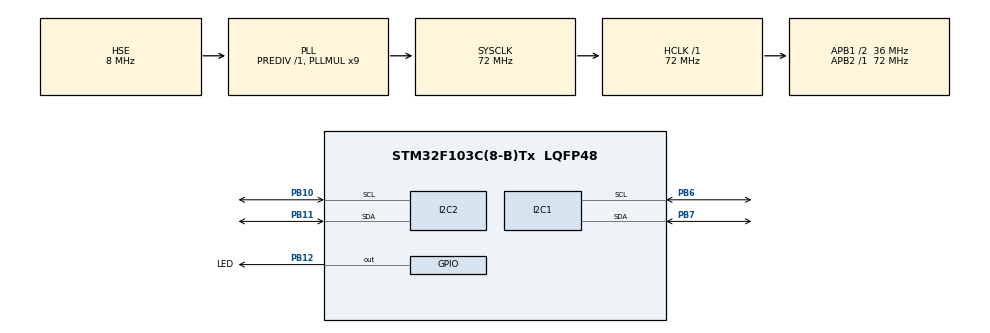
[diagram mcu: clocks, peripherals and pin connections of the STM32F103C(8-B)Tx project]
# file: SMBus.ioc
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I2C1.SMBusOwnAddress=0x45
Mcu.Family=STM32F1
Mcu.Name=STM32F103C(8-B)Tx
Mcu.Package=LQFP48
NVIC.PriorityGroup=NVIC_PRIORITYGROUP_4
PA13.Mode=Serial_Wire
PA13.Signal=SYS_JTMS-SWDIO
PA14.Mode=Serial_Wire
PA14.Signal=SYS_JTCK-SWCLK
PB10.Mode=I2C
PB10.Signal=I2C2_SCL
PB11.Mode=I2C
PB11.Signal=I2C2_SDA
PB12.GPIO_Label=LED
PB12.Signal=GPIO_Output
PB6.Mode=SMBus-two-wire-Interface
PB6.Signal=I2C1_SCL
PB7.Mode=SMBus-two-wire-Interface
PB7.Signal=I2C1_SDA
PD0-OSC_IN.Mode=HSE-External-Oscillator
PD0-OSC_IN.Signal=RCC_OSC_IN
PD1-OSC_OUT.Mode=HSE-External-Oscillator
PD1-OSC_OUT.Signal=RCC_OSC_OUT
ProjectManager.HeapSize=0x200
ProjectManager.StackSize=0x400
ProjectManager.TargetToolchain=STM32CubeIDE
RCC.AHBFreq_Value=72000000
RCC.APB1CLKDivider=RCC_HCLK_DIV2
RCC.APB1Freq_Value=36000000
RCC.APB1TimFreq_Value=72000000
RCC.APB2Freq_Value=72000000
RCC.APB2TimFreq_Value=72000000
RCC.HCLKFreq_Value=72000000
RCC.PLLMUL=RCC_PLL_MUL9
RCC.PLLSourceVirtual=RCC_PLLSOURCE_HSE
RCC.SYSCLKFreq_VALUE=72000000
RCC.SYSCLKSource=RCC_SYSCLKSOURCE_PLLCLK
RCC.USBFreq_Value=72000000
board=custom

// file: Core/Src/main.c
/* USER CODE BEGIN Header */
/**
  ******************************************************************************
  * @file           : main.c
  * @brief          : Main program body
  ******************************************************************************
  * @attention
  *
  * Copyright (c) 2023 STMicroelectronics.
  * All rights reserved.
  *
  * This software is licensed under terms that can be found in the LICENSE file
  * in the root directory of this software component.
  * If no LICENSE file comes with this software, it is provided AS-IS.
  *
  ******************************************************************************
  */
/* USER CODE END Header */
#include "main.h"

/* USER CODE BEGIN Includes */
#include "i2c-lcd.h"
/* USER CODE END Includes */

I2C_HandleTypeDef hi2c2;

/* USER CODE BEGIN PV */
I2C_HandleTypeDef smbus;
/* USER CODE END PV */

void SystemClock_Config(void);
static void MX_GPIO_Init(void);
static void MX_I2C1_SMBUS_Init(void);
static void MX_I2C2_Init(void);

int main(void)
{

  /* MCU Configuration--------------------------------------------------------*/

  /* Reset of all peripherals, Initializes the Flash interface and the Systick. */
  HAL_Init();

  /* Configure the system clock */
  SystemClock_Config();

  /* Initialize all configured peripherals */
  MX_GPIO_Init();
  MX_I2C1_SMBUS_Init();
  MX_I2C2_Init();
  /* USER CODE BEGIN 2 */
  HAL_Delay(1000);
  lcd_init();
  HAL_Delay(10);
  lcd_clear_display();
  HAL_Delay(10);
  /* USER CODE END 2 */

  /* Infinite loop */
  while (1)
  {

    /* USER CODE BEGIN 3 */
	HAL_GPIO_TogglePin(GPIOB, GPIO_PIN_12);
	lcd_goto_XY(1, 0);
	HAL_Delay(10);
	lcd_send_string("123456789");
	HAL_Delay(10);
  }
  /* USER CODE END 3 */
}

void SystemClock_Config(void)
{
  RCC_OscInitTypeDef RCC_OscInitStruct = {0};
  RCC_ClkInitTypeDef RCC_ClkInitStruct = {0};

  /** Initializes the RCC Oscillators according to the specified parameters
  * in the RCC_OscInitTypeDef structure.
  */
  RCC_OscInitStruct.OscillatorType = RCC_OSCILLATORTYPE_HSE;
  RCC_OscInitStruct.HSEState = RCC_HSE_ON;
  RCC_OscInitStruct.HSEPredivValue = RCC_HSE_PREDIV_DIV1;
  RCC_OscInitStruct.HSIState = RCC_HSI_ON;
  RCC_OscInitStruct.PLL.PLLState = RCC_PLL_ON;
  RCC_OscInitStruct.PLL.PLLSource = RCC_PLLSOURCE_HSE;
  RCC_OscInitStruct.PLL.PLLMUL = RCC_PLL_MUL9;
  if (HAL_RCC_OscConfig(&RCC_OscInitStruct) != HAL_OK)
  {
    Error_Handler();
  }

  /** Initializes the CPU, AHB and APB buses clocks
  */
  RCC_ClkInitStruct.ClockType = RCC_CLOCKTYPE_HCLK|RCC_CLOCKTYPE_SYSCLK
                              |RCC_CLOCKTYPE_PCLK1|RCC_CLOCKTYPE_PCLK2;
  RCC_ClkInitStruct.SYSCLKSource = RCC_SYSCLKSOURCE_PLLCLK;
  RCC_ClkInitStruct.AHBCLKDivider = RCC_SYSCLK_DIV1;
  RCC_ClkInitStruct.APB1CLKDivider = RCC_HCLK_DIV2;
  RCC_ClkInitStruct.APB2CLKDivider = RCC_HCLK_DIV1;

  if (HAL_RCC_ClockConfig(&RCC_ClkInitStruct, FLASH_LATENCY_2) != HAL_OK)
  {
    Error_Handler();
  }
}

static void MX_I2C1_SMBUS_Init(void)
{

  /* USER CODE BEGIN I2C1_Init 0 */
	  smbus.Instance = I2C1;
	  smbus.Init.ClockSpeed = 100000;
	  smbus.Init.DutyCycle = I2C_DUTYCYCLE_2;
	  smbus.Init.OwnAddress1 = 0;
	  smbus.Init.AddressingMode = I2C_ADDRESSINGMODE_7BIT;
	  smbus.Init.DualAddressMode = I2C_DUALADDRESS_DISABLE;
	  smbus.Init.OwnAddress2 = 0;
	  smbus.Init.GeneralCallMode = I2C_GENERALCALL_DISABLE;
	  smbus.Init.NoStretchMode = I2C_NOSTRETCH_DISABLE;
	  if (HAL_I2C_Init(&smbus) != HAL_OK)
	  {
	    Error_Handler();
	  }
  /* USER CODE END I2C1_Init 0 */

}

static void MX_I2C2_Init(void)
{

  hi2c2.Instance = I2C2;
  hi2c2.Init.ClockSpeed = 100000;
  hi2c2.Init.DutyCycle = I2C_DUTYCYCLE_2;
  hi2c2.Init.OwnAddress1 = 0;
  hi2c2.Init.AddressingMode = I2C_ADDRESSINGMODE_7BIT;
  hi2c2.Init.DualAddressMode = I2C_DUALADDRESS_DISABLE;
  hi2c2.Init.OwnAddress2 = 0;
  hi2c2.Init.GeneralCallMode = I2C_GENERALCALL_DISABLE;
  hi2c2.Init.NoStretchMode = I2C_NOSTRETCH_DISABLE;
  if (HAL_I2C_Init(&hi2c2) != HAL_OK)
  {
    Error_Handler();
  }

}

static void MX_GPIO_Init(void)
{
  GPIO_InitTypeDef GPIO_InitStruct = {0};

  /* GPIO Ports Clock Enable */
  __HAL_RCC_GPIOD_CLK_ENABLE();
  __HAL_RCC_GPIOB_CLK_ENABLE();
  __HAL_RCC_GPIOA_CLK_ENABLE();

  /*Configure GPIO pin Output Level */
  HAL_GPIO_WritePin(LED_GPIO_Port, LED_Pin, GPIO_PIN_RESET);

  /*Configure GPIO pin : LED_Pin */
  GPIO_InitStruct.Pin = LED_Pin;
  GPIO_InitStruct.Mode = GPIO_MODE_OUTPUT_PP;
  GPIO_InitStruct.Pull = GPIO_NOPULL;
  GPIO_InitStruct.Speed = GPIO_SPEED_FREQ_LOW;
  HAL_GPIO_Init(LED_GPIO_Port, &GPIO_InitStruct);

}

void Error_Handler(void)
{
  __disable_irq();
  while (1)
  {
  }
}
